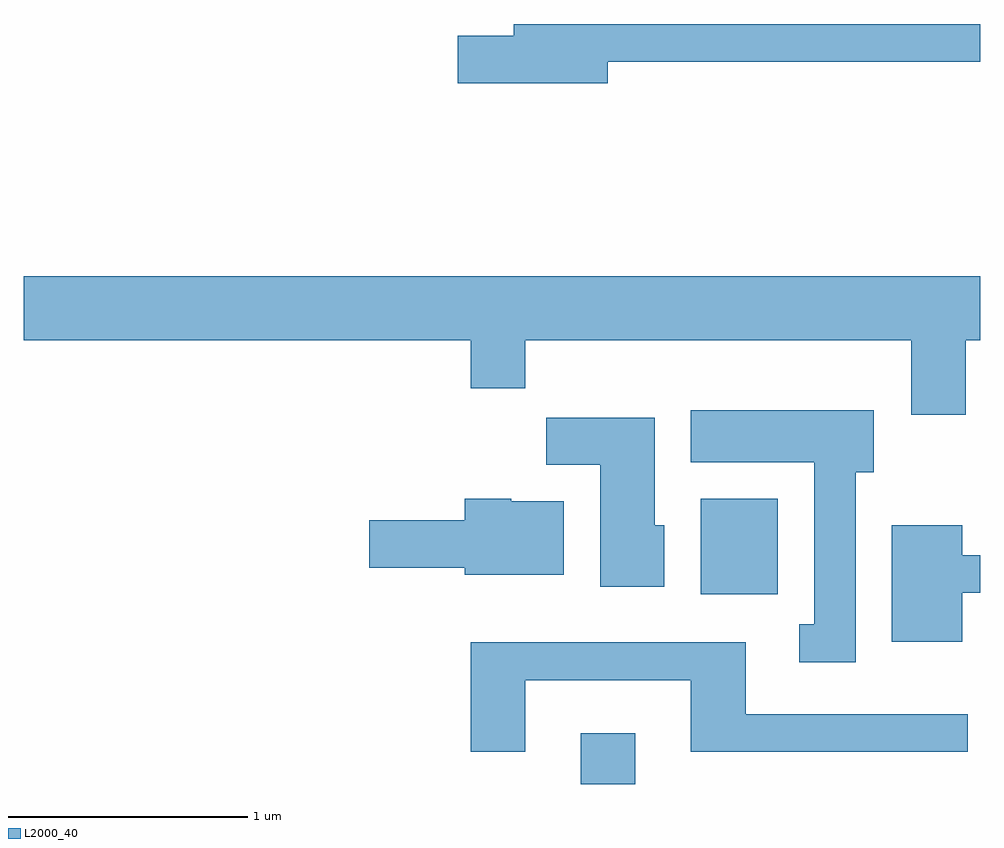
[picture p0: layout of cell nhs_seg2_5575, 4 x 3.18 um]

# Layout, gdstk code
import gdstk
lib = gdstk.Library(unit=1e-6, precision=1e-09)
def R(c, l, rs):  # rectangles x0, y0, x1, y1
    for r in rs: c.add(gdstk.rectangle(r[:2], r[2:], *l))
def P(c, l, *ps):  # polygons
    for p in ps: c.add(gdstk.Polygon(p, *l))
L2000_40 = (2000, 40)

nhs_seg2_5575 = lib.new_cell('nhs_seg2_5575')
R(nhs_seg2_5575, L2000_40, [(351.941,1039.802,352.169,1040.014), (352.441,1040.596,352.764,1040.994)])
P(nhs_seg2_5575, L2000_40, [(352.054,1042.821),(353.611,1042.821),(353.611,1042.979),(351.661,1042.979),(351.661,1042.929),(351.426,1042.929),(351.426,1042.731),(352.054,1042.731)],
  [(353.549,1041.656),(353.611,1041.656),(353.611,1041.924),(349.611,1041.924),(349.611,1041.656),(351.481,1041.656),(351.481,1041.456),(351.709,1041.456),(351.709,1041.656),(353.321,1041.656),(353.321,1041.346),(353.549,1041.346)],
  [(353.089,1041.106),(353.164,1041.106),(353.164,1041.364),(352.401,1041.364),(352.401,1041.146),(352.916,1041.146),(352.916,1040.469),(352.853,1040.469),(352.853,1040.311),(353.089,1040.311)],
  [(352.289,1040.884),(352.249,1040.884),(352.249,1041.334),(351.796,1041.334),(351.796,1041.136),(352.021,1041.136),(352.021,1040.626),(352.289,1040.626)],
  [(351.869,1040.984),(351.65,1040.984),(351.65,1040.994),(351.456,1040.994),(351.456,1040.904),(351.056,1040.904),(351.056,1040.706),(351.456,1040.706),(351.456,1040.676),(351.869,1040.676)],
  [(353.534,1040.601),(353.611,1040.601),(353.611,1040.759),(353.534,1040.759),(353.534,1040.884),(353.241,1040.884),(353.241,1040.396),(353.534,1040.396)],
  [(351.709,1040.236),(352.401,1040.236),(352.401,1039.936),(353.558,1039.936),(353.558,1040.094),(352.629,1040.094),(352.629,1040.394),(351.481,1040.394),(351.481,1039.936),(351.709,1039.936)])

lib.write_gds('nhs_seg2_5575.gds')
